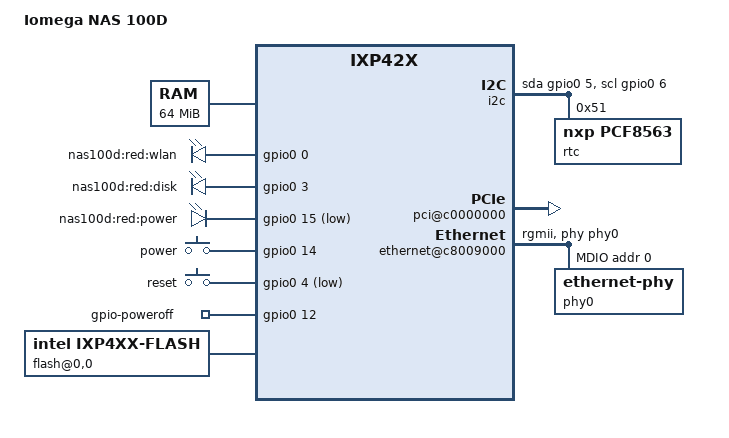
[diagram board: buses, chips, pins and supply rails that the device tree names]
// SPDX-License-Identifier: ISC
/*
 * Device Tree file for Iomega NAS 100D
 */

/dts-v1/;

#include "intel-ixp42x.dtsi"
#include <dt-bindings/input/input.h>

/ {
	model = "Iomega NAS 100D";
	compatible = "iom,nas-100d", "intel,ixp42x";
	#address-cells = <1>;
	#size-cells = <1>;

	memory@0 {
		/* 64 MB SDRAM */
		device_type = "memory";
		reg = <0x00000000 0x4000000>;
	};

	chosen {
		bootargs = "console=ttyS0,115200n8 root=/dev/sda1 rw rootwait";
		stdout-path = "uart0:115200n8";
	};

	aliases {
		serial0 = &uart0;
	};

	leds {
		compatible = "gpio-leds";
		led-wlan {
			label = "nas100d:red:wlan";
			gpios = <&gpio0 0 GPIO_ACTIVE_HIGH>;
			default-state = "on";
			/* We don't have WLAN trigger in the kernel (yet) */
			linux,default-trigger = "netdev";
		};
		led-disk {
			label = "nas100d:red:disk";
			gpios = <&gpio0 3 GPIO_ACTIVE_HIGH>;
			default-state = "on";
			linux,default-trigger = "disk-activity";
		};
		led-power {
			label = "nas100d:red:power";
			gpios = <&gpio0 15 GPIO_ACTIVE_LOW>;
			default-state = "on";
			linux,default-trigger = "heartbeat";
		};
	};

	gpio_keys {
		compatible = "gpio-keys";

		button-power {
			wakeup-source;
			linux,code = <KEY_POWER>;
			label = "power";
			gpios = <&gpio0 14 GPIO_ACTIVE_HIGH>;
		};
		button-reset {
			wakeup-source;
			linux,code = <KEY_ESC>;
			label = "reset";
			gpios = <&gpio0 4 GPIO_ACTIVE_LOW>;
		};
	};

	i2c {
		compatible = "i2c-gpio";
		sda-gpios = <&gpio0 5 (GPIO_ACTIVE_HIGH|GPIO_OPEN_DRAIN)>;
		scl-gpios = <&gpio0 6 (GPIO_ACTIVE_HIGH|GPIO_OPEN_DRAIN)>;
		#address-cells = <1>;
		#size-cells = <0>;

		rtc@51 {
			compatible = "nxp,pcf8563";
			reg = <0x51>;
		};
	};

	gpio-poweroff {
		compatible = "gpio-poweroff";
		gpios = <&gpio0 12 GPIO_ACTIVE_HIGH>;
		timeout-ms = <5000>;
	};

	soc {
		bus@c4000000 {
			/* The first 16MB region at CS0 on the expansion bus */
			flash@0,0 {
				compatible = "intel,ixp4xx-flash", "cfi-flash";
				bank-width = <2>;
				/*
				 * 8 MB of Flash in 0x20000 byte blocks
				 * mapped in at CS0.
				 */
				reg = <0 0x00000000 0x800000>;

				partitions {
					compatible = "redboot-fis";
					/* Eraseblock at 0x7e0000 */
					fis-index-block = <0x3f>;
				};
			};
		};

		pci@c0000000 {
			status = "okay";

			/*
			 * Taken from NAS 100D PCI boardfile (nas100d-pci.c)
			 * We have slots (IDSEL) 1, 2 and 3 and pins 1, 2 and 3.
			 */
			#interrupt-cells = <1>;
			interrupt-map-mask = <0xf800 0 0 7>;
			interrupt-map =
			/* IDSEL 1 */
			<0x0800 0 0 1 &gpio0 11 IRQ_TYPE_LEVEL_LOW>, /* INT A on slot 1 is irq 11 */
			/* IDSEL 2 */
			<0x1000 0 0 1 &gpio0 10 IRQ_TYPE_LEVEL_LOW>, /* INT A on slot 2 is irq 10 */
			/* IDSEL 3 */
			<0x1800 0 0 1 &gpio0 9  IRQ_TYPE_LEVEL_LOW>, /* INT A on slot 3 is irq 9 */
			<0x1800 0 0 2 &gpio0 8  IRQ_TYPE_LEVEL_LOW>, /* INT B on slot 3 is irq 8 */
			<0x1800 0 0 3 &gpio0 7  IRQ_TYPE_LEVEL_LOW>; /* INT C on slot 3 is irq 7 */
		};

		ethernet@c8009000 {
			status = "okay";
			queue-rx = <&qmgr 3>;
			queue-txready = <&qmgr 20>;
			phy-mode = "rgmii";
			phy-handle = <&phy0>;

			mdio {
				#address-cells = <1>;
				#size-cells = <0>;

				phy0: ethernet-phy@0 {
					reg = <0>;
				};
			};
		};
	};
};
